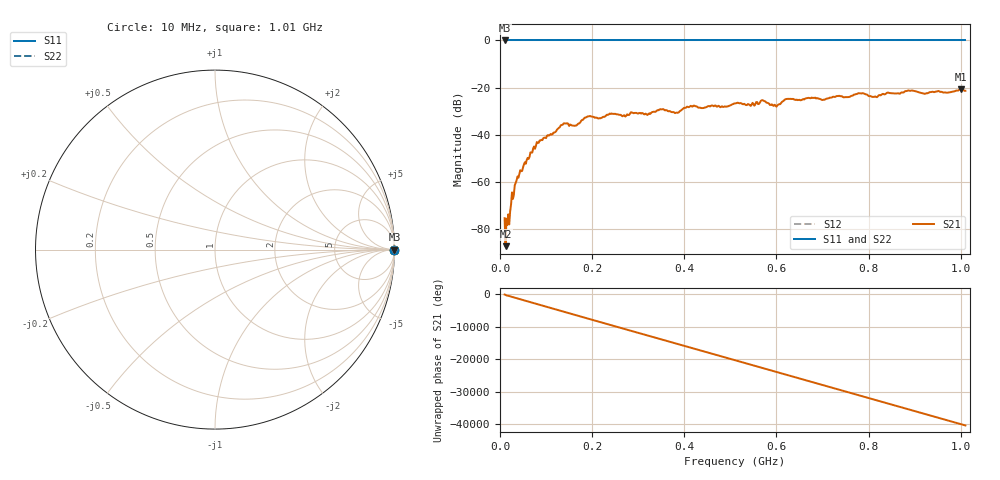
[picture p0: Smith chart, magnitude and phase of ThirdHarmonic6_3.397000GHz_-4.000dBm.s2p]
! 8/17/2025 10:50:21 AM
! C:\ANRITSUVNA\TEMP\TEMP.S2P
! CHANNEL.1
! TR.MEASUREMENT
! RAW.DATA
! RF.CORRECTION.OFF
! AVERAGING.OFF
! IF.BANDWIDTH: 5KHZ
! SWEEPTYPE:  FREQ.SWEEP(Linear)
! Reference Plane Port Info
! PORT:  PORT1  PORT2
! DISTANCE:  0  m  0  m
! TIME:  0  s  0  s
! PHASE.OFFSET:  0  deg.  0  deg.
! LOSS:  0  dB  0  dB
! REF.LOSS:  0  dB  0  dB
! REF.FREQ:  0  Hz  0  Hz
! Power Info
! POWER:  -20  dBm  -20  dBm
! EFF.POWER:  -20  dBm  -20  dBm
! SOURCE.ATTEN:  0  dB  0  dB
! TEST.ATTEN:  0  dB  0  dB
# GHZ S RI R 50.0
! FREQ.GHZ  S11RE  S11IM  S21RE  S21IM  S12RE  S12IM  S22RE  S22IM
!; PortSelection: Port_12
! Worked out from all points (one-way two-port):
!   501 points, 10 MHz to 1.01 GHz, reference 50 ohm
!   highest |S21| = -20.73 dB at 1 GHz (marker M1); lowest = -87.3 dB at 12 MHz (marker M2)
!   lowest |S11| = 0.0 dB at 10 MHz (marker M3)
!   |S11| at or under -10 dB: nowhere
!   |S22| runs from 0.0 to 0.0 dB; largest |S21 - S12| = 1.1
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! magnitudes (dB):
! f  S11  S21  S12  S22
! 10 MHz  0.0  -75.4  0.0  0.0
! 12 MHz  0.0  -87.3  0.0  0.0
! 16 MHz  0.0  -78.3  0.0  0.0
! 20 MHz  0.0  -78.1  0.0  0.0
! 30 MHz  0.0  -65.5  0.0  0.0
! 40 MHz  0.0  -58.2  0.0  0.0
! 76 MHz  0.0  -46.0  0.0  0.0
! 136 MHz  0.0  -35.8  0.0  0.0
! 162 MHz  0.0  -36.2  0.0  0.0
! 178 MHz  0.0  -33.8  0.0  0.0
! 192 MHz  0.0  -32.2  0.0  0.0
! 344 MHz  0.0  -29.6  0.0  0.0
! 384 MHz  0.0  -30.6  0.0  0.0
! 418 MHz  0.0  -28.0  0.0  0.0
! 510 MHz  0.0  -26.7  0.0  0.0
! 570 MHz  0.0  -25.4  0.0  0.0
! 598 MHz  0.0  -27.6  0.0  0.0
! 622 MHz  0.0  -24.8  0.0  0.0
! 678 MHz  0.0  -24.3  0.0  0.0
! 844 MHz  0.0  -22.2  0.0  0.0
! 1 GHz  0.0  -20.7  0.0  0.0
! 1.01 GHz  0.0  -21.4  0.0  0.0
